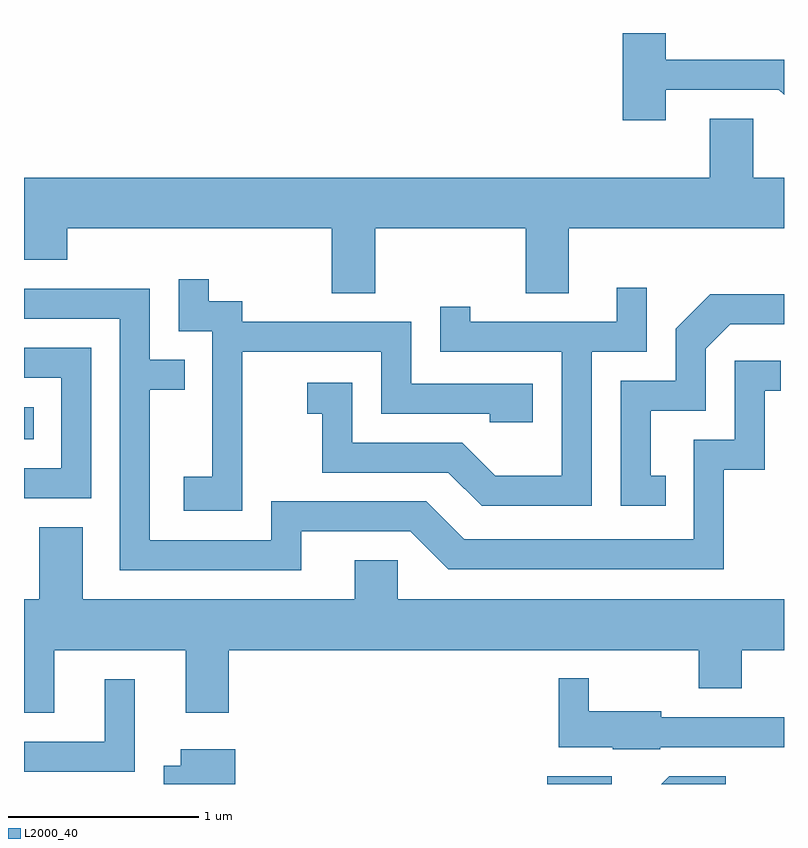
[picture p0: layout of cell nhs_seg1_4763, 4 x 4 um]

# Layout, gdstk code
import gdstk
lib = gdstk.Library(unit=1e-6, precision=1e-09)
def R(c, l, rs):  # rectangles x0, y0, x1, y1
    for r in rs: c.add(gdstk.rectangle(r[:2], r[2:], *l))
def P(c, l, *ps):  # polygons
    for p in ps: c.add(gdstk.Polygon(p, *l))
L2000_40 = (2000, 40)

nhs_seg1_4763 = lib.new_cell('nhs_seg1_4763')
R(nhs_seg1_4763, L2000_40, [(330.366,947.712,330.704,947.754), (327.611,949.526,327.663,949.694), (330.336,951.711,330.594,951.712)])
P(nhs_seg1_4763, L2000_40, [(330.989,951.366),(331.584,951.366),(331.611,951.339),(331.611,951.524),(330.989,951.524),(330.989,951.664),(330.761,951.664),(330.761,951.206),(330.989,951.206)],
  [(329.459,950.636),(330.251,950.636),(330.251,950.296),(330.479,950.296),(330.479,950.636),(331.611,950.636),(331.611,950.904),(331.449,950.904),(331.449,951.214),(331.221,951.214),(331.221,950.904),(327.611,950.904),(327.611,950.471),(327.839,950.471),(327.839,950.636),(329.231,950.636),(329.231,950.296),(329.459,950.296)],
  [(328.759,949.986),(329.491,949.986),(329.491,949.661),(330.061,949.661),(330.061,949.616),(330.289,949.616),(330.289,949.819),(329.649,949.819),(329.649,950.144),(328.759,950.144),(328.759,950.254),(328.584,950.254),(328.584,950.368),(328.426,950.368),(328.426,950.096),(328.601,950.096),(328.601,949.329),(328.451,949.329),(328.451,949.151),(328.759,949.151)],
  [(330.599,949.986),(330.889,949.986),(330.889,950.323),(330.731,950.323),(330.731,950.144),(329.959,950.144),(329.959,950.223),(329.801,950.223),(329.801,949.986),(330.441,949.986),(330.441,949.334),(330.092,949.334),(329.917,949.509),(329.339,949.509),(329.339,949.824),(329.103,949.824),(329.103,949.661),(329.181,949.661),(329.181,949.351),(329.844,949.351),(330.019,949.176),(330.599,949.176)],
  [(329.069,949.041),(329.644,949.041),(329.844,948.841),(331.294,948.841),(331.294,949.366),(331.509,949.366),(331.509,949.781),(331.593,949.781),(331.593,949.939),(331.351,949.939),(331.351,949.524),(331.136,949.524),(331.136,948.999),(329.927,948.999),(329.727,949.199),(328.911,949.199),(328.911,948.994),(328.274,948.994),(328.274,949.786),(328.458,949.786),(328.458,949.944),(328.274,949.944),(328.274,950.319),(327.611,950.319),(327.611,950.161),(328.116,950.161),(328.116,948.836),(329.069,948.836)],
  [(330.988,949.334),(330.909,949.334),(330.909,949.676),(331.199,949.676),(331.199,950.004),(331.327,950.131),(331.611,950.131),(331.611,950.289),(331.224,950.289),(331.041,950.107),(331.041,949.834),(330.751,949.834),(330.751,949.176),(330.988,949.176)],
  [(327.964,950.009),(327.611,950.009),(327.611,949.851),(327.806,949.851),(327.806,949.374),(327.611,949.374),(327.611,949.216),(327.964,949.216)],
  [(327.769,948.416),(328.461,948.416),(328.461,948.086),(328.689,948.086),(328.689,948.416),(331.161,948.416),(331.161,948.216),(331.389,948.216),(331.389,948.416),(331.611,948.416),(331.611,948.684),(329.579,948.684),(329.579,948.889),(329.351,948.889),(329.351,948.684),(327.919,948.684),(327.919,949.064),(327.691,949.064),(327.691,948.684),(327.611,948.684),(327.611,948.086),(327.769,948.086)],
  [(330.96,947.906),(331.611,947.906),(331.611,948.064),(330.964,948.064),(330.964,948.094),(330.584,948.094),(330.584,948.268),(330.426,948.268),(330.426,947.906),(330.71,947.906),(330.71,947.896),(330.96,947.896)],
  [(328.194,948.263),(328.036,948.263),(328.036,947.934),(327.611,947.934),(327.611,947.776),(328.194,947.776)],
  [(328.724,947.894),(328.436,947.894),(328.436,947.809),(328.346,947.809),(328.346,947.712),(328.724,947.712)],
  [(331.304,947.754),(331.007,947.754),(330.964,947.712),(331.304,947.712)])

lib.write_gds('nhs_seg1_4763.gds')
